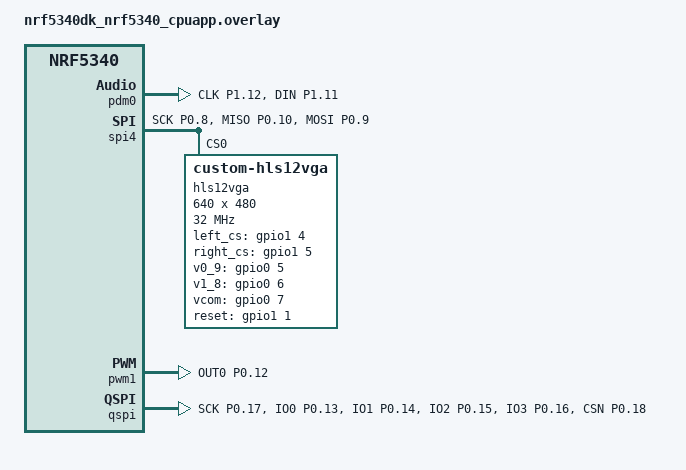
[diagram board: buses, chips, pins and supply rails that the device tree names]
/ {
    chosen {
        zephyr,display = &hls12vga;
        nordic-nus-uart = &uart0;
        nordic,pm-ext-flash = &mx25r64;
    };
};

/* Enable PDM for audio input */
&pdm0 {
    status = "okay";
    pinctrl-0 = <&pdm0_default>;
    pinctrl-1 = <&pdm0_sleep>;
    pinctrl-names = "default", "sleep";
};

/* Disable LEDs that conflict with CS pins */
&led0 {
    status = "disabled";
};

&led1 {
    status = "disabled";
};

&pinctrl {
    /* QSPI pins for external flash */
    qspi_default: qspi_default {
        group1 {
            psels = <NRF_PSEL(QSPI_SCK, 0, 17)>,
                    <NRF_PSEL(QSPI_IO0, 0, 13)>,
                    <NRF_PSEL(QSPI_IO1, 0, 14)>,
                    <NRF_PSEL(QSPI_IO2, 0, 15)>,
                    <NRF_PSEL(QSPI_IO3, 0, 16)>,
                    <NRF_PSEL(QSPI_CSN, 0, 18)>;
            nordic,drive-mode = <NRF_DRIVE_H0H1>;
        };
    };

    qspi_sleep: qspi_sleep {
        group1 {
            psels = <NRF_PSEL(QSPI_SCK, 0, 17)>,
                    <NRF_PSEL(QSPI_IO0, 0, 13)>,
                    <NRF_PSEL(QSPI_IO1, 0, 14)>,
                    <NRF_PSEL(QSPI_IO2, 0, 15)>,
                    <NRF_PSEL(QSPI_IO3, 0, 16)>,
                    <NRF_PSEL(QSPI_CSN, 0, 18)>;
            low-power-enable;
        };
    };

    /* Reconfigure SPI4 to use our HLS12VGA pins for 32MHz capability */
    spi4_default: spi4_default {
        group1 {
            psels = <NRF_PSEL(SPIM_SCK, 0, 8)>,
                    <NRF_PSEL(SPIM_MISO, 0, 10)>,
                    <NRF_PSEL(SPIM_MOSI, 0, 9)>;
            nordic,drive-mode = <NRF_DRIVE_E0E1>;
        };
    };
    spi4_sleep: spi4_sleep {
        group1 {
            psels = <NRF_PSEL(SPIM_SCK, 0, 8)>,
                    <NRF_PSEL(SPIM_MISO, 0, 10)>,
                    <NRF_PSEL(SPIM_MOSI, 0, 9)>;
            low-power-enable;
        };
    };
    
    pwm1_default: pwm1_default {
        group1 {
            psels = <NRF_PSEL(PWM_OUT0, 0, 12)>;  /* P0.12 - moved from P0.13 to avoid QSPI conflict */
        };
    };
    pwm1_sleep: pwm1_sleep {
        group1 {
            psels = <NRF_PSEL(PWM_OUT0, 0, 12)>;
            low-power-enable;
        };
    };
    
    pdm0_default: pdm0_default {
        group1 {
            psels = <NRF_PSEL(PDM_CLK, 1, 12)>,   /* P1.12 - moved from P0.16 to avoid QSPI conflict */
                    <NRF_PSEL(PDM_DIN, 1, 11)>;   /* P1.11 - moved from P0.17 to avoid QSPI conflict */
        };
    };
    pdm0_sleep: pdm0_sleep {
        group1 {
            psels = <NRF_PSEL(PDM_CLK, 1, 12)>,
                    <NRF_PSEL(PDM_DIN, 1, 11)>;
            low-power-enable;
        };
    };
};

/* Disable SPI3 (8MHz limited) */
&spi3 {
    status = "disabled";
};

/* Enable SPI4 with 32MHz capability for HLS12VGA */
&spi4 {
    compatible = "nordic,nrf-spim";
    status = "okay";
    pinctrl-0 = <&spi4_default>;
    pinctrl-1 = <&spi4_sleep>;
    pinctrl-names = "default", "sleep";

    hls12vga: hls12vga@0 {
        compatible = "zephyr,custom-hls12vga";
        reg = <0>;
        status = "okay";
        spi-max-frequency = <32000000>;
        left_cs-gpios  = <&gpio1 4 GPIO_ACTIVE_HIGH>;   /* P1.04 - avoid conflicts */
        right_cs-gpios = <&gpio1 5 GPIO_ACTIVE_HIGH>;   /* P1.05 - avoid conflicts */
        v0_9-gpios     = <&gpio0 5 GPIO_ACTIVE_HIGH>;  /* P0.05 */
        v1_8-gpios     = <&gpio0 6 GPIO_ACTIVE_HIGH>;  /* P0.06 */
        vcom-gpios     = <&gpio0 7 GPIO_ACTIVE_HIGH>;  /* P0.07 */
        reset-gpios    = <&gpio1 1 GPIO_ACTIVE_HIGH>;  /* P1.01 */
        width = <640>;
        height = <480>;
    };
};

/* Enable PWM1 for protobuf handler */
&pwm1 {
    status = "okay";
    pinctrl-0 = <&pwm1_default>;
    pinctrl-1 = <&pwm1_sleep>;
    pinctrl-names = "default", "sleep";
};

/* Enable QSPI for external flash (XIP support) */
&qspi {
    status = "okay";
    pinctrl-0 = <&qspi_default>;
    pinctrl-1 = <&qspi_sleep>;
    pinctrl-names = "default", "sleep";
};

/* USB disabled for now - will add back for secure shell later */
/* 
&zephyr_udc0 {
    status = "okay";
    
    cdc_acm_uart0: cdc_acm_uart0 {
        compatible = "zephyr,cdc-acm-uart";
        label = "CDC_ACM_0";
    };
};
*/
